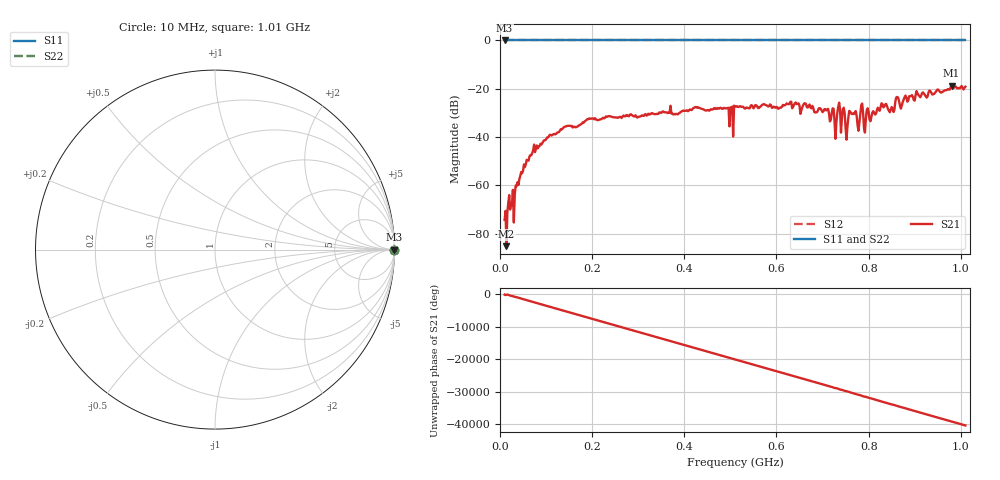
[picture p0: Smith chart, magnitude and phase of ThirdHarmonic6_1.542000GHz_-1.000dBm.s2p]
! 8/16/2025 6:17:31 PM
! C:\ANRITSUVNA\TEMP\TEMP.S2P
! CHANNEL.1
! TR.MEASUREMENT
! RAW.DATA
! RF.CORRECTION.OFF
! AVERAGING.OFF
! IF.BANDWIDTH: 5KHZ
! SWEEPTYPE:  FREQ.SWEEP(Linear)
! Reference Plane Port Info
! PORT:  PORT1  PORT2
! DISTANCE:  0  m  0  m
! TIME:  0  s  0  s
! PHASE.OFFSET:  0  deg.  0  deg.
! LOSS:  0  dB  0  dB
! REF.LOSS:  0  dB  0  dB
! REF.FREQ:  0  Hz  0  Hz
! Power Info
! POWER:  -20  dBm  -20  dBm
! EFF.POWER:  -20  dBm  -20  dBm
! SOURCE.ATTEN:  0  dB  0  dB
! TEST.ATTEN:  0  dB  0  dB
# GHZ S RI R 50.0
! FREQ.GHZ  S11RE  S11IM  S21RE  S21IM  S12RE  S12IM  S22RE  S22IM
!; PortSelection: Port_12
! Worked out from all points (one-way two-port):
!   501 points, 10 MHz to 1.01 GHz, reference 50 ohm
!   highest |S21| = -18.79 dB at 980 MHz (marker M1); lowest = -85.3 dB at 14 MHz (marker M2)
!   lowest |S11| = 0.0 dB at 10 MHz (marker M3)
!   |S11| at or under -10 dB: nowhere
!   |S22| runs from 0.0 to 0.0 dB; largest |S21 - S12| = 1.1
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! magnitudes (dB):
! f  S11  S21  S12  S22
! 10 MHz  0.0  -74.4  0.0  0.0
! 14 MHz  0.0  -85.3  0.0  0.0
! 70 MHz  0.0  -46.6  0.0  0.0
! 178 MHz  0.0  -34.4  0.0  0.0
! 344 MHz  0.0  -30.4  0.0  0.0
! 510 MHz  0.0  -27.3  0.0  0.0
! 628 MHz  0.0  -26.3  0.0  0.0
! 678 MHz  0.0  -27.1  0.0  0.0
! 708 MHz  0.0  -29.0  0.0  0.0
! 728 MHz  0.0  -40.7  0.0  0.0
! 734 MHz  0.0  -27.5  0.0  0.0
! 752 MHz  0.0  -41.1  0.0  0.0
! 762 MHz  0.0  -30.3  0.0  0.0
! 778 MHz  0.0  -37.4  0.0  0.0
! 784 MHz  0.0  -26.8  0.0  0.0
! 792 MHz  0.0  -38.2  0.0  0.0
! 832 MHz  0.0  -27.7  0.0  0.0
! 844 MHz  0.0  -29.1  0.0  0.0
! 862 MHz  0.0  -23.4  0.0  0.0
! 870 MHz  0.0  -28.2  0.0  0.0
! 980 MHz  0.0  -18.8  0.0  0.0
! 1.01 GHz  0.0  -19.2  0.0  0.0
